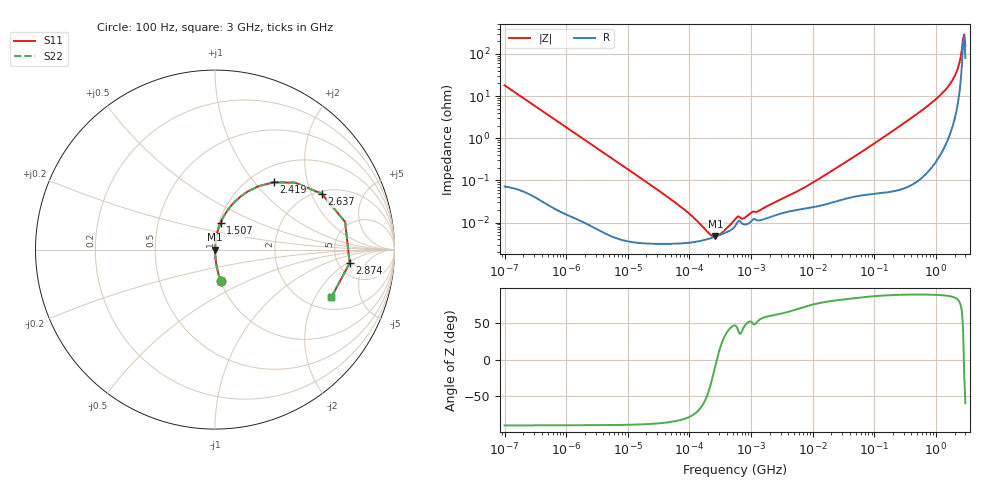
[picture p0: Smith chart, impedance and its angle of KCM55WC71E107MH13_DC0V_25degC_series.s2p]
!Murata Part Number: KCM55WC71E107MH13
!These Parameters are Measured in Series Mode Connection
!  o--ll--o
!Port1  Port2
!  o------o
!Operation Temp=25[degC], DC Bias Voltage=0[V]
!Freq. Start=100[Hz] Stop=3[GHz], 401[Steps]
!Data Generated on Feb 1, 2017
# Hz S RI R 50
!Freq.(Hz) S11(Real) S11(Imag) S21(Real) S21(Imag) S12(Real) S12(Imag) S22(Real) S22(Imag)
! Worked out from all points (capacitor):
!   401 points, 100 Hz to 3 GHz, reference 50 ohm
!   read as one part in series: C = 88.4 uF near 109 Hz
!   lowest |Z| = 4.66 mohm at 263.5 kHz (marker M1)
!   series resonance near 277.7 kHz, so ESL is about 3.7 nH
!   S11 on the Smith chart (normalised r, x): 100 Hz: 1.00, -0.36; 1.507 GHz: 1.02, +0.31; 2.419 GHz: 1.27, +1.26; 2.637 GHz: 2.11, +2.39; 2.874 GHz: 6.35, -2.20; 3 GHz: 2.61, -2.73
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100  0.032 -0.174  0.968 0.174  0.968 0.174  0.032 -0.174
319.6728  0.00357 -0.0563  0.9964 0.0563  0.9964 0.0563  0.00357 -0.0563
1788.207  0.000209 -0.0102  0.9998 0.0102  0.9998 0.0102  0.000209 -0.0102
31976.85  3.14e-05 -0.000565  1 0.000565  1 0.000565  3.14e-05 -0.000565
138162.7  3.57e-05 -9.68e-05  1 9.68e-05  1 9.68e-05  3.57e-05 -9.68e-05
263501.4  4.62e-05 -6.33e-06  1 6.33e-06  1 6.33e-06  4.62e-05 -6.33e-06
461093.9  6.54e-05 6.11e-05  0.9999 -6.11e-05  0.9999 -6.11e-05  6.54e-05 6.11e-05
547722.6  8.11e-05 8.57e-05  0.9999 -8.57e-05  0.9999 -8.57e-05  8.11e-05 8.57e-05
623216.6  0.000109 8.72e-05  0.9999 -8.72e-05  0.9999 -8.72e-05  0.000109 8.72e-05
772864  9.04e-05 9.01e-05  0.9999 -9.01e-05  0.9999 -9.01e-05  9.04e-05 9.01e-05
1000599  0.000106 0.000134  0.9999 -0.000134  0.9999 -0.000134  0.000106 0.000134
1352413  0.000113 0.000155  0.9999 -0.000155  0.9999 -0.000155  0.000113 0.000155
9794414  0.00023 0.000837  0.9998 -0.000837  0.9998 -0.000837  0.00023 0.000837
1.751444e8  0.000701 0.0131  0.9993 -0.0131  0.9993 -0.0131  0.000701 0.0131
7.567485e8  0.00527 0.0601  0.9947 -0.0601  0.9947 -0.0601  0.00527 0.0601
1.506733e9  0.0312 0.1494  0.9688 -0.1494  0.9688 -0.1494  0.0312 0.1494
2.036508e9  0.1102 0.2667  0.8898 -0.2667  0.8898 -0.2667  0.1102 0.2667
2.219584e9  0.1817 0.3233  0.8183 -0.3233  0.8183 -0.3233  0.1817 0.3233
2.419119e9  0.3269 0.3752  0.6731 -0.3752  0.6731 -0.3752  0.3269 0.3752
2.636591e9  0.5952 0.3112  0.4048 -0.3112  0.4048 -0.3112  0.5952 0.3112
2.873614e9  0.7503 -0.0747  0.2497 0.0747  0.2497 0.0747  0.7503 -0.0747
3e9  0.6481 -0.2663  0.3519 0.2663  0.3519 0.2663  0.6481 -0.2663
